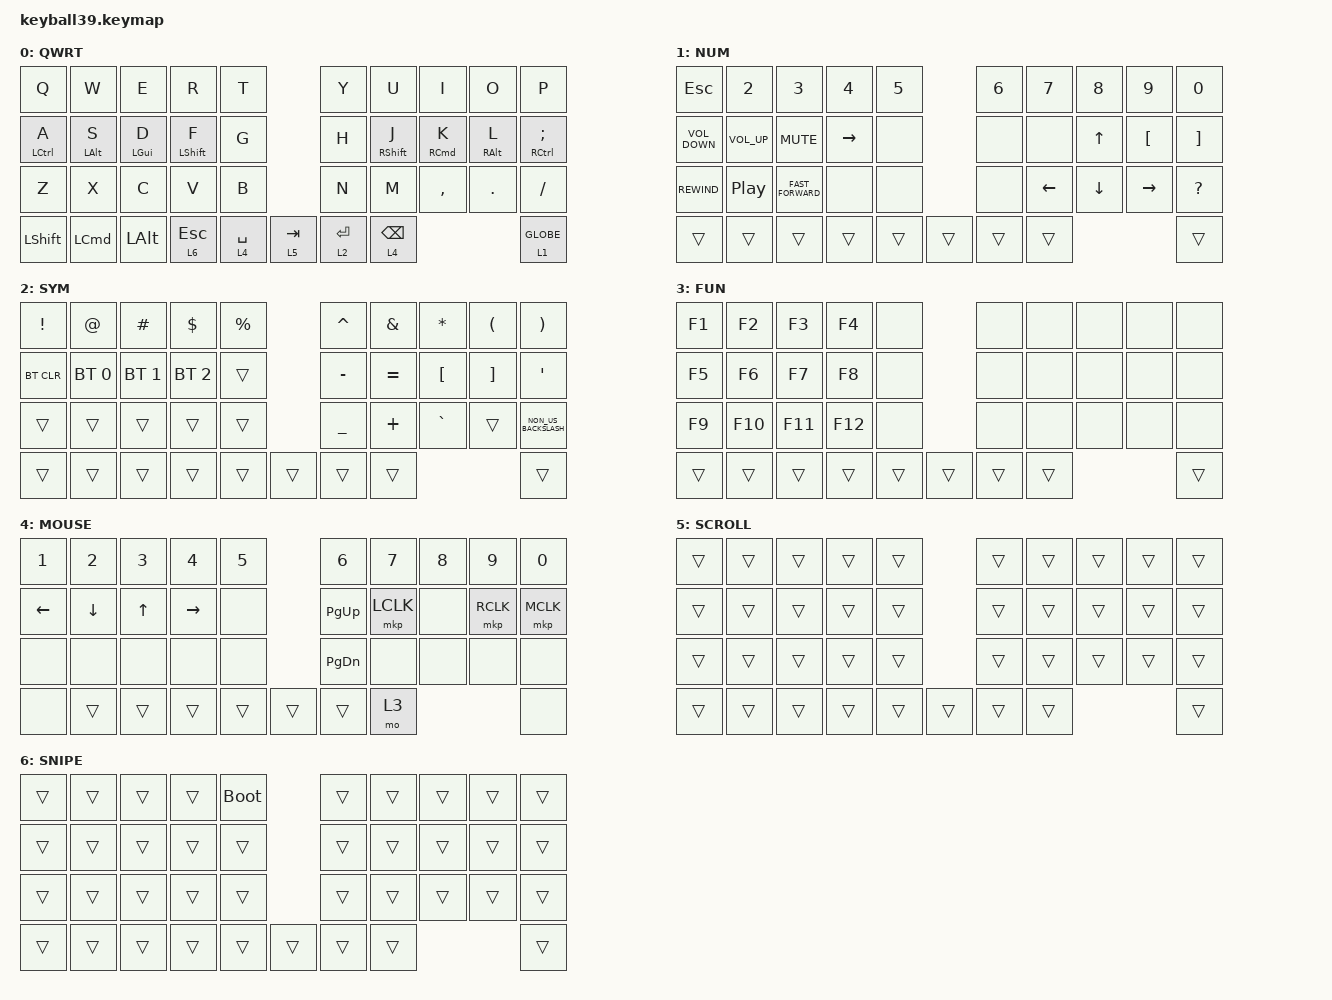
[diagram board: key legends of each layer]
#define DEFAULT 0
#define NUM     1
#define SYM     2
#define FUN     3
#define MOUSE   4
#define SCROLL  5
#define SNIPE   6

#include <behaviors/mouse_keys.dtsi>
#include <dt-bindings/zmk/mouse.h>
#include <behaviors.dtsi>
#include <dt-bindings/zmk/bt.h>
#include <dt-bindings/zmk/keys.h>
#include <dt-bindings/zmk/pointing.h>

&lt {
    tapping-term-ms = <240>;
    flavor = "balanced";
    quick-tap-ms = <150>;
};

&mt {
    tapping-term-ms = <200>;
    flavor = "tap-preferred";
    quick-tap-ms = <150>;
};

&caps_word { continue-list = <UNDERSCORE MINUS>; };

/ {
    // custom shift using mod-morph 

    behaviors {
        cmqus: comma_question {
            compatible = "zmk,behavior-mod-morph";
            label = "COMMA_QUESTION";
            #binding-cells = <0>;
            bindings = <&kp COMMA>, <&kp QUESTION>;

            mods = <(MOD_LSFT|MOD_RSFT)>;
        };

        dtsmi: dot_semi {
            compatible = "zmk,behavior-mod-morph";
            label = "DOT_SEMI";
            #binding-cells = <0>;
            bindings = <&kp DOT>, <&kp SEMI>;

            mods = <(MOD_LSFT|MOD_RSFT)>;
        };
    };

    keymap {
        compatible = "zmk,keymap";

        default_layer {
            label = "QWRT";
            bindings = <
&kp Q           &kp W             &kp E           &kp R             &kp T                                &kp Y            &kp U              &kp I                &kp O            &kp P
&mt LCTRL A     &mt LEFT_ALT S    &mt LEFT_GUI D  &mt LEFT_SHIFT F  &kp G                                &kp H            &mt RIGHT_SHIFT J  &mt RIGHT_COMMAND K  &mt RIGHT_ALT L  &mt RCTRL SEMI
&kp Z           &kp X             &kp C           &kp V             &kp B                                &kp N            &kp M              &kp COMMA            &kp DOT          &kp SLASH
&kp LEFT_SHIFT  &kp LEFT_COMMAND  &kp LEFT_ALT    &lt 6 ESCAPE      &lt 4 SPACE  &lt 5 TAB  &lt 2 ENTER  &lt 4 BACKSPACE                                                           &lt 1 GLOBE
            >;
        };

        number_layer {
            label = "NUM";
            bindings = <
&kp ESCAPE         &kp NUMBER_2      &kp NUMBER_3        &kp NUMBER_4  &kp NUMBER_5                  &kp NUMBER_6  &kp NUMBER_7  &kp NUMBER_8  &kp NUMBER_9      &kp NUMBER_0
&kp C_VOLUME_DOWN  &kp C_VOLUME_UP   &kp K_MUTE          &kp RIGHT     &none                         &none         &none         &kp UP_ARROW  &kp LEFT_BRACKET  &kp RIGHT_BRACKET
&kp C_REWIND       &kp C_PLAY_PAUSE  &kp C_FAST_FORWARD  &none         &none                         &none         &kp LEFT      &kp DOWN      &kp RIGHT         &kp QUESTION
&trans             &trans            &trans              &trans        &trans        &trans  &trans  &trans                                                      &trans
            >;
        };

        symbol_layer {
            label = "SYM";
            bindings = <
&kp EXCLAMATION  &kp AT_SIGN   &kp HASH      &kp DOLLAR    &kp PERCENT                  &kp CARET       &kp AMPERSAND  &kp ASTERISK      &kp LEFT_PARENTHESIS  &kp RIGHT_PARENTHESIS
&bt BT_CLR       &bt BT_SEL 0  &bt BT_SEL 1  &bt BT_SEL 2  &trans                       &kp MINUS       &kp EQUAL      &kp LEFT_BRACKET  &kp RIGHT_BRACKET     &kp SQT
&trans           &trans        &trans        &trans        &trans                       &kp UNDERSCORE  &kp PLUS       &kp GRAVE         &trans                &kp NON_US_BACKSLASH
&trans           &trans        &trans        &trans        &trans       &trans  &trans  &trans                                                                 &trans
            >;
        };

        function_layer {
            label = "FUN";
            bindings = <
&kp F1  &kp F2   &kp F3   &kp F4   &none                   &none   &none  &none  &none  &none
&kp F5  &kp F6   &kp F7   &kp F8   &none                   &none   &none  &none  &none  &none
&kp F9  &kp F10  &kp F11  &kp F12  &none                   &none   &none  &none  &none  &none
&trans  &trans   &trans   &trans   &trans  &trans  &trans  &trans                       &trans
            >;
        };

        mouse_layer {
            label = "MOUSE";
            bindings = <
&kp N1          &kp N2          &kp N3        &kp N4     &kp N5                  &kp N6         &kp N7     &kp N8  &kp N9     &kp N0
&kp LEFT_ARROW  &kp DOWN_ARROW  &kp UP_ARROW  &kp RIGHT  &none                   &kp PAGE_UP    &mkp LCLK  &none   &mkp RCLK  &mkp MCLK
&none           &none           &none         &none      &none                   &kp PAGE_DOWN  &none      &none   &none      &none
&none           &trans          &trans        &trans     &trans  &trans  &trans  &mo 3                                        &none
            >;
        };

        scroll_layer {
            label = "SCROLL";
            bindings = <
&trans  &trans  &trans  &trans  &trans                  &trans  &trans  &trans  &trans  &trans
&trans  &trans  &trans  &trans  &trans                  &trans  &trans  &trans  &trans  &trans
&trans  &trans  &trans  &trans  &trans                  &trans  &trans  &trans  &trans  &trans
&trans  &trans  &trans  &trans  &trans  &trans  &trans  &trans                          &trans
            >;
        };

        snipe_layer {
            label = "SNIPE";
            bindings = <
&trans  &trans  &trans  &trans  &bootloader                  &trans  &trans  &trans  &trans  &trans
&trans  &trans  &trans  &trans  &trans                       &trans  &trans  &trans  &trans  &trans
&trans  &trans  &trans  &trans  &trans                       &trans  &trans  &trans  &trans  &trans
&trans  &trans  &trans  &trans  &trans       &trans  &trans  &trans                          &trans
            >;
        };
    };
};
